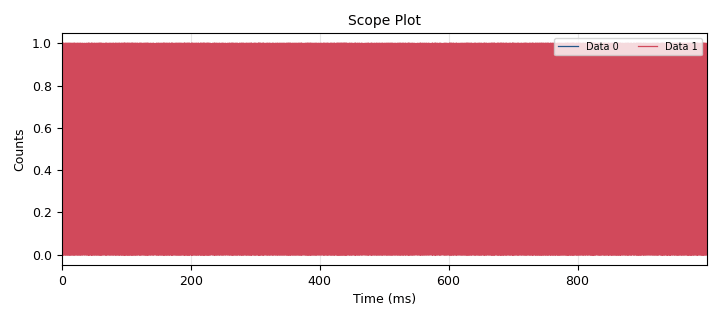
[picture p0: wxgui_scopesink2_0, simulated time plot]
<?xml version='1.0' encoding='utf-8'?>
<?grc format='1' created='3.7.10'?>
<flow_graph>
<block>
<key>options</key>
<param><key>id</key><value>top_block</value></param>
<param><key>category</key><value>Custom</value></param>
<param><key>generate_options</key><value>wx_gui</value></param>
</block>
<block>
<key>variable</key>
<param><key>id</key><value>samp_rate</value></param>
<param><key>value</key><value>32000</value></param>
</block>
<block>
<key>variable_slider</key>
<param><key>id</key><value>thresh</value></param>
<param><key>converver</key><value>float_converter</value></param>
<param><key>value</key><value>900*10**-3</value></param>
<param><key>label</key><value></value></param>
<param><key>max</key><value>1</value></param>
<param><key>min</key><value>0</value></param>
<param><key>num_steps</key><value>100</value></param>
<param><key>style</key><value>wx.SL_HORIZONTAL</value></param>
</block>
<block>
<key>analog_noise_source_x</key>
<param><key>id</key><value>analog_noise_source_x_0</value></param>
<param><key>amp</key><value>0.5</value></param>
<param><key>noise_type</key><value>analog.GR_UNIFORM</value></param>
<param><key>type</key><value>float</value></param>
<param><key>seed</key><value>32</value></param>
</block>
<block>
<key>blks2_error_rate</key>
<param><key>id</key><value>blks2_error_rate_0</value></param>
<param><key>bits_per_symbol</key><value>1</value></param>
<param><key>type</key><value>'BER'</value></param>
<param><key>win_size</key><value>1280</value></param>
</block>
<block>
<key>blocks_add_const_vxx</key>
<param><key>id</key><value>blocks_add_const_vxx_0</value></param>
<param><key>const</key><value>0.5</value></param>
<param><key>type</key><value>float</value></param>
</block>
<block>
<key>blocks_float_to_char</key>
<param><key>id</key><value>blocks_float_to_char_0</value></param>
<param><key>scale</key><value>1</value></param>
</block>
<block>
<key>blocks_threshold_ff</key>
<param><key>id</key><value>blocks_threshold_ff_0</value></param>
<param><key>high</key><value>thresh</value></param>
<param><key>init</key><value>0</value></param>
<param><key>low</key><value>thresh</value></param>
</block>
<block>
<key>blocks_throttle</key>
<param><key>id</key><value>blocks_throttle_0</value></param>
<param><key>samples_per_second</key><value>samp_rate</value></param>
<param><key>type</key><value>byte</value></param>
</block>
<block>
<key>blocks_xor_xx</key>
<param><key>id</key><value>blocks_xor_xx_0</value></param>
<param><key>type</key><value>byte</value></param>
</block>
<block>
<key>digital_glfsr_source_x</key>
<param><key>id</key><value>digital_glfsr_source_x_0</value></param>
<param><key>degree</key><value>6</value></param>
<param><key>mask</key><value>0</value></param>
<param><key>repeat</key><value>True</value></param>
<param><key>seed</key><value>1</value></param>
<param><key>type</key><value>byte</value></param>
</block>
<block>
<key>wxgui_numbersink2</key>
<param><key>id</key><value>wxgui_numbersink2_0</value></param>
<param><key>avg_alpha</key><value>0</value></param>
<param><key>average</key><value>False</value></param>
<param><key>decimal_places</key><value>6</value></param>
<param><key>factor</key><value>1.0</value></param>
<param><key>max_value</key><value>1</value></param>
<param><key>min_value</key><value>0</value></param>
<param><key>number_rate</key><value>15</value></param>
<param><key>peak_hold</key><value>False</value></param>
<param><key>ref_level</key><value>0</value></param>
<param><key>samp_rate</key><value>samp_rate</value></param>
<param><key>show_gauge</key><value>True</value></param>
<param><key>title</key><value>Number Plot</value></param>
<param><key>type</key><value>float</value></param>
<param><key>units</key><value>Units</value></param>
</block>
<block>
<key>wxgui_scopesink2</key>
<param><key>id</key><value>wxgui_scopesink2_0</value></param>
<param><key>ac_couple</key><value>False</value></param>
<param><key>num_inputs</key><value>2</value></param>
<param><key>samp_rate</key><value>samp_rate</value></param>
<param><key>t_scale</key><value>100*10**-3</value></param>
<param><key>title</key><value>Scope Plot</value></param>
<param><key>trig_mode</key><value>wxgui.TRIG_MODE_AUTO</value></param>
<param><key>type</key><value>float</value></param>
<param><key>v_offset</key><value>0</value></param>
<param><key>v_scale</key><value>200*10**-3</value></param>
<param><key>xy_mode</key><value>False</value></param>
<param><key>y_axis_label</key><value>Counts</value></param>
</block>
<connection><source_block_id>analog_noise_source_x_0</source_block_id><sink_block_id>blocks_add_const_vxx_0</sink_block_id><source_key>0</source_key><sink_key>0</sink_key></connection>
<connection><source_block_id>blks2_error_rate_0</source_block_id><sink_block_id>wxgui_numbersink2_0</sink_block_id><source_key>0</source_key><sink_key>0</sink_key></connection>
<connection><source_block_id>blks2_error_rate_0</source_block_id><sink_block_id>wxgui_scopesink2_0</sink_block_id><source_key>0</source_key><sink_key>0</sink_key></connection>
<connection><source_block_id>blocks_add_const_vxx_0</source_block_id><sink_block_id>blocks_threshold_ff_0</sink_block_id><source_key>0</source_key><sink_key>0</sink_key></connection>
<connection><source_block_id>blocks_float_to_char_0</source_block_id><sink_block_id>blocks_xor_xx_0</sink_block_id><source_key>0</source_key><sink_key>1</sink_key></connection>
<connection><source_block_id>blocks_threshold_ff_0</source_block_id><sink_block_id>blocks_float_to_char_0</sink_block_id><source_key>0</source_key><sink_key>0</sink_key></connection>
<connection><source_block_id>blocks_threshold_ff_0</source_block_id><sink_block_id>wxgui_scopesink2_0</sink_block_id><source_key>0</source_key><sink_key>1</sink_key></connection>
<connection><source_block_id>blocks_throttle_0</source_block_id><sink_block_id>blks2_error_rate_0</sink_block_id><source_key>0</source_key><sink_key>0</sink_key></connection>
<connection><source_block_id>blocks_throttle_0</source_block_id><sink_block_id>blocks_xor_xx_0</sink_block_id><source_key>0</source_key><sink_key>0</sink_key></connection>
<connection><source_block_id>blocks_xor_xx_0</source_block_id><sink_block_id>blks2_error_rate_0</sink_block_id><source_key>0</source_key><sink_key>1</sink_key></connection>
<connection><source_block_id>digital_glfsr_source_x_0</source_block_id><sink_block_id>blocks_throttle_0</sink_block_id><source_key>0</source_key><sink_key>0</sink_key></connection>
</flow_graph>
